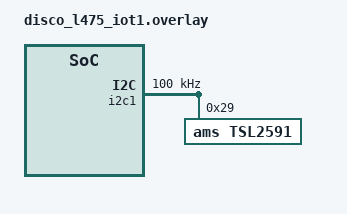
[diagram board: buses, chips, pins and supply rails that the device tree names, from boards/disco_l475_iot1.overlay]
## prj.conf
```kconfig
CONFIG_SENSOR=y
CONFIG_TSL2591=y
CONFIG_SHELL=y
CONFIG_I2C_SHELL=y
CONFIG_LOG=y
```

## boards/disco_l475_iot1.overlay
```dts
&i2c1 {
	status = "okay";
	clock-frequency = <I2C_BITRATE_STANDARD>;
	tsl2591@29 {
		status = "okay";
		compatible = "ams,tsl2591";
		reg = <0x29>;
	};
};
```

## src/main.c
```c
#include <zephyr/kernel.h>
#include <zephyr/devicetree.h>
#include <zephyr/device.h>
#include <zephyr/drivers/sensor.h>
#include <stdio.h>
#include <zephyr/sys/__assert.h>

int main(void)
{
	int ret = 0;
	struct sensor_value light_val;

	const struct device *const dev = DEVICE_DT_GET_ONE(ams_tsl2591);

	if (!device_is_ready(dev)) {
		printk("sensor: device not ready.\n");
		return -1;
	}

	while (1) {
		ret = sensor_sample_fetch(dev);
		if (ret) {
			printf("sensor_sample_fetch failed ret %d\n", ret);
			return -1;
		}

		ret = sensor_channel_get(dev, SENSOR_CHAN_LIGHT, &light_val);
		if (ret) {
			printf("sensor_sample_fetch failed ret %d\n", ret);
			return -1;
		}

		printf("Light value int = %d, frac = %d\n", light_val.val1, light_val.val2);
		k_sleep(K_SECONDS(1));
	}

	return 0;
}
```
